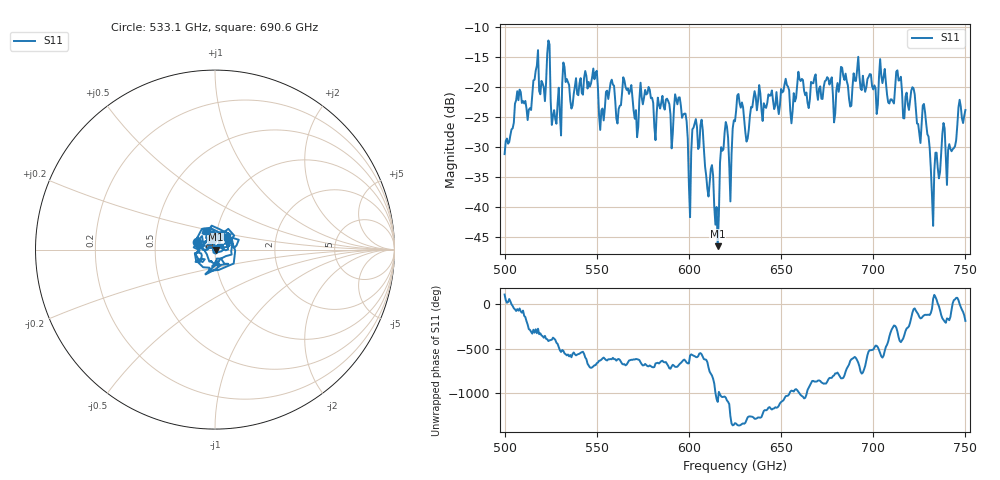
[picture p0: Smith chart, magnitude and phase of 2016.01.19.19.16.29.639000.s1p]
!Created with skrf (http://scikit-rf.org).
# GHz S RI R 50.0
!freq ReS11 ImS11
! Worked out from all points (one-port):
!   401 points, 500 GHz to 750 GHz, reference 50 ohm
!   lowest |S11| = -46.5 dB at 615.6 GHz (marker M1), VSWR 1.01, Z = 50.5 - j0.123 ohm
!   |S11| at or under -10 dB: start of sweep to end of sweep
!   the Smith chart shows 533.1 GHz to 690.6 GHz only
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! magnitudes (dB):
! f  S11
! 500 GHz  -31.1
! 507.5 GHz  -22.1
! 513.8 GHz  -23.5
! 516.9 GHz  -17.2
! 523.8 GHz  -12.2
! 526.9 GHz  -23.8
! 531.2 GHz  -19.4
! 548.8 GHz  -18.7
! 552.5 GHz  -23.8
! 558.1 GHz  -18.7
! 562.5 GHz  -23.1
! 593.8 GHz  -22.8
! 600 GHz  -36.3
! 603.1 GHz  -26.0
! 606.9 GHz  -25.4
! 615.6 GHz  -46.5
! 618.8 GHz  -30.3
! 622.5 GHz  -39.0
! 625 GHz  -25.7
! 653.1 GHz  -19.6
! 656.2 GHz  -24.0
! 660.6 GHz  -19.0
! 687.5 GHz  -23.2
! 705 GHz  -19.3
! 718.8 GHz  -22.9
! 728.1 GHz  -24.2
! 732.5 GHz  -43.1
! 750 GHz  -23.8
